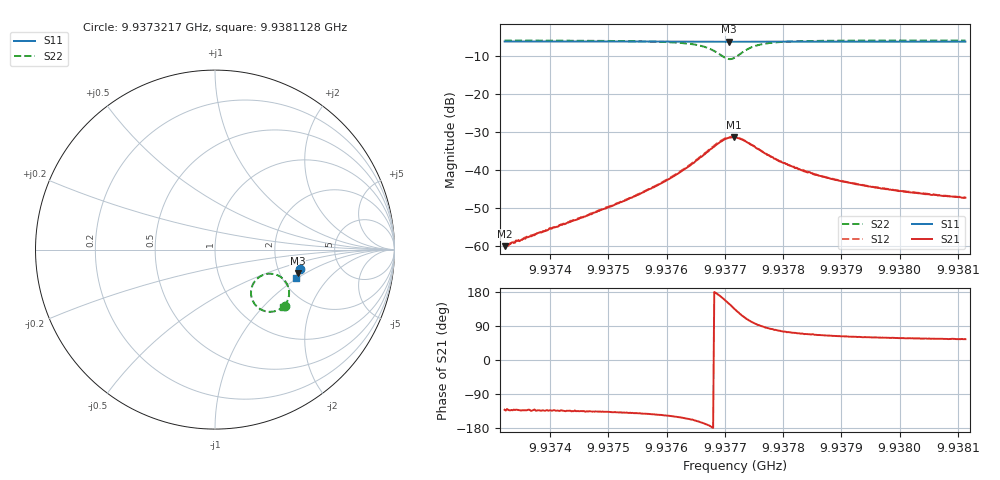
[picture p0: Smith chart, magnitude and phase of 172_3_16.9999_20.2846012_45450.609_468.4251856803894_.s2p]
#  HZ  S  RI  R  50.00
! Rohde & Schwarz Vector Network Analyzer
! Rohde-Schwarz,ZNB20-2Port,1311601062101988,3.16
! Created: UTC 3/20/2024, 10:59:48 PM
! freq[Hz]  re:S11  im:S11  re:S21  im:S21  re:S12  im:S12  re:S22  im:S22
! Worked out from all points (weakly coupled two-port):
!   401 points, 9.9373217 GHz to 9.9381128 GHz, reference 50 ohm
!   highest |S21| = -31.41 dB at 9.9377153 GHz (marker M1); lowest = -60.0 dB at 9.9373217 GHz (marker M2)
!   lowest |S11| = -6.4 dB at 9.9377074 GHz (marker M3), VSWR 2.84, Z = 125 - j42.7 ohm
!   |S11| at or under -10 dB: nowhere
!   |S22| runs from -10.9 to -6.0 dB; largest |S21 - S12| = 0.0014
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9.93732175e9  0.4712 -0.1078  -0.000659 -0.000749  -0.000699 -0.000757  0.3873 -0.3121
9.93732966e9  0.471 -0.1085  -0.000713 -0.000775  -0.000691 -0.000797  0.3867 -0.3128
9.93745425e9  0.4685 -0.1169  -0.00167 -0.00167  -0.00171 -0.00168  0.3718 -0.3248
9.93752743e9  0.4668 -0.1218  -0.00294 -0.00259  -0.00306 -0.00257  0.3571 -0.334
9.93758676e9  0.4653 -0.1259  -0.00525 -0.00372  -0.00538 -0.0037  0.3345 -0.3429
9.93762434e9  0.464 -0.1285  -0.0083 -0.00449  -0.00857 -0.00444  0.3065 -0.3467
9.93764807e9  0.4631 -0.1303  -0.0119 -0.00445  -0.0122 -0.00452  0.2774 -0.3424
9.93766587e9  0.4621 -0.1312  -0.0158 -0.00326  -0.0164 -0.00294  0.2458 -0.3273
9.93767972e9  0.4613 -0.132  -0.0198 -0.000314  -0.0201 0.000247  0.2178 -0.2987
9.93769158e9  0.4607 -0.1321  -0.0227 0.00443  -0.023 0.00533  0.2014 -0.2555
9.93770147e9  0.4602 -0.1321  -0.0234 0.0103  -0.0235 0.0114  0.2057 -0.208
9.9377074e9  0.46 -0.1321  -0.0224 0.0141  -0.0221 0.0151  0.2197 -0.1796
9.93771531e9  0.4603 -0.132  -0.0194 0.0186  -0.0189 0.0195  0.251 -0.1502
9.93771729e9  0.4602 -0.1319  -0.0184 0.0194  -0.0179 0.0203  0.2602 -0.145
9.93772718e9  0.4606 -0.1321  -0.0127 0.0218  -0.0121 0.0226  0.3083 -0.1342
9.93774102e9  0.4611 -0.133  -0.00567 0.0216  -0.00507 0.022  0.3613 -0.1495
9.93776278e9  0.4614 -0.1348  0.000185 0.0176  0.00076 0.0177  0.4008 -0.1911
9.9377964e9  0.4611 -0.1374  0.00306 0.0124  0.00337 0.0125  0.4131 -0.2373
9.9378498e9  0.4601 -0.1415  0.00338 0.00831  0.00361 0.0083  0.4082 -0.2731
9.93790913e9  0.4586 -0.1455  0.00319 0.00609  0.00337 0.00605  0.4004 -0.2926
9.93798231e9  0.4566 -0.1505  0.00289 0.00468  0.00301 0.00469  0.3922 -0.3066
9.93811284e9  0.4532 -0.159  0.00248 0.00353  0.00255 0.00353  0.3807 -0.3211
